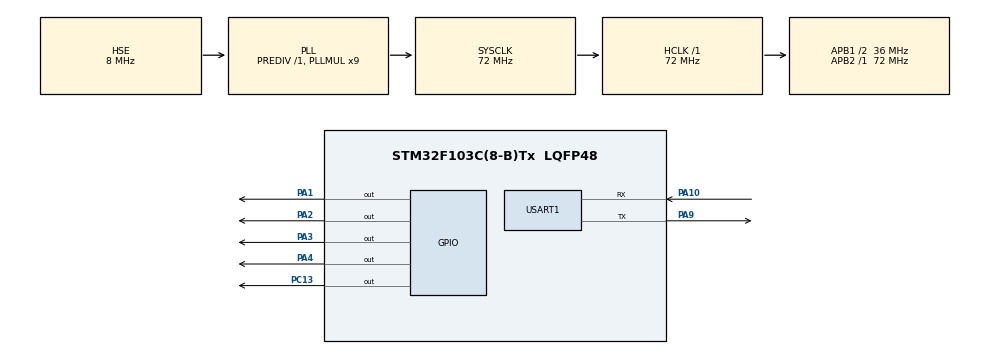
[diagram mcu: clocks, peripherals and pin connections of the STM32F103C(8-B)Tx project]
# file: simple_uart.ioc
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Mcu.Family=STM32F1
RCC.PLLSourceVirtual=RCC_PLLSOURCE_HSE
PD1-OSC_OUT.Mode=HSE-External-Oscillator
PA10.Mode=Asynchronous
PC13-TAMPER-RTC.Signal=GPIO_Output
PD0-OSC_IN.Signal=RCC_OSC_IN
RCC.APB1CLKDivider=RCC_HCLK_DIV2
RCC.SYSCLKSource=RCC_SYSCLKSOURCE_PLLCLK
ProjectManager.StackSize=0x400
PD1-OSC_OUT.Signal=RCC_OSC_OUT
PA13.Signal=SYS_JTMS-SWDIO
PA9.Mode=Asynchronous
ProjectManager.TargetToolchain=STM32CubeIDE
RCC.HCLKFreq_Value=72000000
RCC.APB2TimFreq_Value=72000000
PA9.Signal=USART1_TX
RCC.USBFreq_Value=72000000
PA1.Signal=GPIO_Output
RCC.AHBFreq_Value=72000000
PD0-OSC_IN.Mode=HSE-External-Oscillator
board=custom
RCC.PLLMUL=RCC_PLL_MUL9
RCC.APB2Freq_Value=72000000
PA14.Mode=Serial_Wire
PA13.Mode=Serial_Wire
Mcu.Name=STM32F103C(8-B)Tx
PA2.Signal=GPIO_Output
PA4.Signal=GPIO_Output
RCC.SYSCLKFreq_VALUE=72000000
Mcu.Package=LQFP48
USART1.VirtualMode=VM_ASYNC
PA10.Signal=USART1_RX
PA14.Signal=SYS_JTCK-SWCLK
ProjectManager.HeapSize=0x200
NVIC.PriorityGroup=NVIC_PRIORITYGROUP_4
RCC.APB1TimFreq_Value=72000000
NVIC.USART1_IRQn=true\:0\:0\:false\:false\:true\:true\:true
RCC.APB1Freq_Value=36000000
PA3.Signal=GPIO_Output

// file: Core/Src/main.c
/* USER CODE BEGIN Header */
/**
  ******************************************************************************
  * @file           : main.c
  * @brief          : Main program body
  ******************************************************************************
  * @attention
  *
  * <h2><center>&copy; Copyright (c) 2021 STMicroelectronics.
  * All rights reserved.</center></h2>
  *
  * This software component is licensed by ST under BSD 3-Clause license,
  * the "License"; You may not use this file except in compliance with the
  * License. You may obtain a copy of the License at:
  *                        opensource.org/licenses/BSD-3-Clause
  *
  ******************************************************************************
  */
/* USER CODE END Header */
#include "main.h"

/* USER CODE BEGIN Includes */
#include <string.h>
/* USER CODE END Includes */

UART_HandleTypeDef huart1;

void SystemClock_Config(void);

static void MX_GPIO_Init(void);

static void MX_USART1_UART_Init(void);

/* USER CODE BEGIN 0 */
#define BUFSIZE 3 // здесь указать размер буфера нужного размера
uint8_t buffer[BUFSIZE] = {0,};

// Функция обробатывает IDLE флаг.  Для того чтобы эта функци работала , нужно  добавить  изменения в
// Drivers/STM32F1xx_HAL_Driver/Inc/stm32f1xx_hal_uart.h
// Drivers/STM32F1xx_HAL_Driver/Src/stm32f1xx_hal_uart.c

void HAL_UART_IDLE_Callback(UART_HandleTypeDef *huart) {
    if (huart == &huart1) {
        // Функция вызываетс если буфер не доконца заполнен
        __HAL_UART_DISABLE_IT(&huart1, UART_IT_IDLE);
        uint8_t res = HAL_UART_Transmit_IT(&huart1, (uint8_t *) "ERR_LEN", 7);
        if (res == HAL_ERROR) {
            HAL_UART_Transmit(&huart1, (uint8_t *) "ERR_HAL", 7, 1000);
        } else if (res == HAL_BUSY) {
            HAL_UART_Transmit(&huart1, (uint8_t *) "ERR_BUSY", 8, 1000);
        } else if (res == HAL_OK) {

        } else {
            HAL_UART_Transmit(&huart1, (uint8_t *) "ERR_ALL", 7, 1000);
        }
        HAL_UART_AbortReceive(&huart1);
        __HAL_UART_CLEAR_IDLEFLAG(&huart1);
        __HAL_UART_ENABLE_IT(&huart1, UART_IT_IDLE);
        HAL_UART_Receive_IT(&huart1, (uint8_t *) buffer, BUFSIZE);
    }
}

/////////////////////////////////// полный буфер ///////////////////////////////////////
void HAL_UART_RxCpltCallback(UART_HandleTypeDef *huart) {
    if (huart == &huart1) {
        // Функция вызывается если буфер заполнен, здесь мы обрабатываем  и парсим то что пришло
        __HAL_UART_DISABLE_IT(&huart1, UART_IT_IDLE);
        if (strcmp((char *) buffer, "1-0") == 0) {
            HAL_GPIO_WritePin(GPIOA, GPIO_PIN_1, GPIO_PIN_RESET);
            HAL_UART_Transmit_IT(&huart1, (uint8_t *) "OK", 2);

        } else if (strcmp((char *) buffer, "1-1") == 0) {
            HAL_GPIO_WritePin(GPIOA, GPIO_PIN_1, GPIO_PIN_SET);
            HAL_UART_Transmit_IT(&huart1, (uint8_t *) "OK", 2);

        } else if (strcmp((char *) buffer, "2-0") == 0) {
            HAL_GPIO_WritePin(GPIOA, GPIO_PIN_2, GPIO_PIN_RESET);
            HAL_UART_Transmit_IT(&huart1, (uint8_t *) "OK", 2);

        } else if (strcmp((char *) buffer, "2-1") == 0) {
            HAL_GPIO_WritePin(GPIOA, GPIO_PIN_2, GPIO_PIN_SET);
            HAL_UART_Transmit_IT(&huart1, (uint8_t *) "OK", 2);

        } else if (strcmp((char *) buffer, "3-0") == 0) {
            HAL_GPIO_WritePin(GPIOA, GPIO_PIN_3, GPIO_PIN_RESET);
            HAL_UART_Transmit_IT(&huart1, (uint8_t *) "OK", 2);

        } else if (strcmp((char *) buffer, "3-1") == 0) {
            HAL_GPIO_WritePin(GPIOA, GPIO_PIN_3, GPIO_PIN_SET);
            HAL_UART_Transmit_IT(&huart1, (uint8_t *) "OK", 2);

        } else if (strcmp((char *) buffer, "4-0") == 0) {
            HAL_GPIO_WritePin(GPIOA, GPIO_PIN_4, GPIO_PIN_RESET);
            HAL_UART_Transmit_IT(&huart1, (uint8_t *) "OK", 2);

        } else if (strcmp((char *) buffer, "4-1") == 0) {
            HAL_GPIO_WritePin(GPIOA, GPIO_PIN_4, GPIO_PIN_SET);
            HAL_UART_Transmit_IT(&huart1, (uint8_t *) "OK", 2);

        } else {
            HAL_UART_Transmit_IT(&huart1, (uint8_t *) "NOT", 3);
        }

        HAL_UART_AbortReceive(&huart1);
        __HAL_UART_CLEAR_IDLEFLAG(&huart1);
        __HAL_UART_ENABLE_IT(&huart1, UART_IT_IDLE);
        HAL_UART_Receive_IT(&huart1, (uint8_t *) buffer, BUFSIZE);
    }
}

void HAL_UART_ErrorCallback(UART_HandleTypeDef *huart) {
    // Здесь мы обрабатываем ошибку  отправки UART
    if (huart == &huart1) {
        __HAL_UART_DISABLE_IT(&huart1, UART_IT_IDLE);
        uint32_t er = HAL_UART_GetError(&huart1);
        HAL_UART_Abort_IT(&huart1);

        switch (er) {
            case HAL_UART_ERROR_PE:
                HAL_UART_Transmit(&huart1, (uint8_t *) "ERR_PARITY", 10, 1000);
                __HAL_UART_CLEAR_PEFLAG(&huart1);
                huart->ErrorCode = HAL_UART_ERROR_NONE;
                break;

            case HAL_UART_ERROR_NE:
                HAL_UART_Transmit(&huart1, (uint8_t *) "ERR_NOISE", 9, 1000);
                __HAL_UART_CLEAR_NEFLAG(&huart1);
                huart->ErrorCode = HAL_UART_ERROR_NONE;
                break;

            case HAL_UART_ERROR_FE:
                HAL_UART_Transmit(&huart1, (uint8_t *) "ERR_FRAME", 9, 1000);
                __HAL_UART_CLEAR_FEFLAG(&huart1);
                huart->ErrorCode = HAL_UART_ERROR_NONE;
                break;

            case HAL_UART_ERROR_ORE:
                HAL_UART_Transmit(&huart1, (uint8_t *) "ERR_OVERRUN", 11, 1000);
                __HAL_UART_CLEAR_OREFLAG(huart);
                huart->ErrorCode = HAL_UART_ERROR_NONE;
                break;

            case HAL_UART_ERROR_DMA:
                HAL_UART_Transmit(&huart1, (uint8_t *) "ERR_DMA", 7, 1000);
                huart->ErrorCode = HAL_UART_ERROR_NONE;
                break;
            default:
                break;
        }
    }

}

/* USER CODE END 0 */

int main(void) {

    /* MCU Configuration--------------------------------------------------------*/

    /* Reset of all peripherals, Initializes the Flash interface and the Systick. */
    HAL_Init();

    /* Configure the system clock */
    SystemClock_Config();

    /* Initialize all configured peripherals */
    MX_GPIO_Init();
    MX_USART1_UART_Init();
    /* USER CODE BEGIN 2 */

    // Включаем флаг IDLE
    __HAL_UART_ENABLE_IT(&huart1, UART_IT_IDLE);
    // Включаем прерывание
    HAL_UART_Receive_IT(&huart1, (uint8_t *) buffer, BUFSIZE);

    /* USER CODE END 2 */

    /* Infinite loop */
    while (1) {

        /* USER CODE BEGIN 3 */
        // Здесь просто мигаем светодиодом
        HAL_GPIO_TogglePin(GPIOC, GPIO_PIN_13);
        HAL_Delay(1000);

    }
    /* USER CODE END 3 */
}

void SystemClock_Config(void) {
    RCC_OscInitTypeDef RCC_OscInitStruct = {0};
    RCC_ClkInitTypeDef RCC_ClkInitStruct = {0};

    /** Initializes the RCC Oscillators according to the specified parameters
    * in the RCC_OscInitTypeDef structure.
    */
    RCC_OscInitStruct.OscillatorType = RCC_OSCILLATORTYPE_HSE;
    RCC_OscInitStruct.HSEState = RCC_HSE_ON;
    RCC_OscInitStruct.HSEPredivValue = RCC_HSE_PREDIV_DIV1;
    RCC_OscInitStruct.HSIState = RCC_HSI_ON;
    RCC_OscInitStruct.PLL.PLLState = RCC_PLL_ON;
    RCC_OscInitStruct.PLL.PLLSource = RCC_PLLSOURCE_HSE;
    RCC_OscInitStruct.PLL.PLLMUL = RCC_PLL_MUL9;
    if (HAL_RCC_OscConfig(&RCC_OscInitStruct) != HAL_OK) {
        Error_Handler();
    }
    /** Initializes the CPU, AHB and APB buses clocks
    */
    RCC_ClkInitStruct.ClockType = RCC_CLOCKTYPE_HCLK | RCC_CLOCKTYPE_SYSCLK
                                  | RCC_CLOCKTYPE_PCLK1 | RCC_CLOCKTYPE_PCLK2;
    RCC_ClkInitStruct.SYSCLKSource = RCC_SYSCLKSOURCE_PLLCLK;
    RCC_ClkInitStruct.AHBCLKDivider = RCC_SYSCLK_DIV1;
    RCC_ClkInitStruct.APB1CLKDivider = RCC_HCLK_DIV2;
    RCC_ClkInitStruct.APB2CLKDivider = RCC_HCLK_DIV1;

    if (HAL_RCC_ClockConfig(&RCC_ClkInitStruct, FLASH_LATENCY_2) != HAL_OK) {
        Error_Handler();
    }
}

static void MX_USART1_UART_Init(void) {

    huart1.Instance = USART1;
    huart1.Init.BaudRate = 115200;
    huart1.Init.WordLength = UART_WORDLENGTH_8B;
    huart1.Init.StopBits = UART_STOPBITS_1;
    huart1.Init.Parity = UART_PARITY_NONE;
    huart1.Init.Mode = UART_MODE_TX_RX;
    huart1.Init.HwFlowCtl = UART_HWCONTROL_NONE;
    huart1.Init.OverSampling = UART_OVERSAMPLING_16;
    if (HAL_UART_Init(&huart1) != HAL_OK) {
        Error_Handler();
    }

}

static void MX_GPIO_Init(void) {
    GPIO_InitTypeDef GPIO_InitStruct = {0};

    /* GPIO Ports Clock Enable */
    __HAL_RCC_GPIOC_CLK_ENABLE();
    __HAL_RCC_GPIOD_CLK_ENABLE();
    __HAL_RCC_GPIOA_CLK_ENABLE();

    /*Configure GPIO pin Output Level */
    HAL_GPIO_WritePin(GPIOC, GPIO_PIN_13, GPIO_PIN_RESET);

    /*Configure GPIO pin Output Level */
    HAL_GPIO_WritePin(GPIOA, GPIO_PIN_1 | GPIO_PIN_2 | GPIO_PIN_3 | GPIO_PIN_4, GPIO_PIN_RESET);

    /*Configure GPIO pin : PC13 */
    GPIO_InitStruct.Pin = GPIO_PIN_13;
    GPIO_InitStruct.Mode = GPIO_MODE_OUTPUT_PP;
    GPIO_InitStruct.Pull = GPIO_NOPULL;
    GPIO_InitStruct.Speed = GPIO_SPEED_FREQ_LOW;
    HAL_GPIO_Init(GPIOC, &GPIO_InitStruct);

    /*Configure GPIO pins : PA1 PA2 PA3 PA4 */
    GPIO_InitStruct.Pin = GPIO_PIN_1 | GPIO_PIN_2 | GPIO_PIN_3 | GPIO_PIN_4;
    GPIO_InitStruct.Mode = GPIO_MODE_OUTPUT_PP;
    GPIO_InitStruct.Pull = GPIO_NOPULL;
    GPIO_InitStruct.Speed = GPIO_SPEED_FREQ_LOW;
    HAL_GPIO_Init(GPIOA, &GPIO_InitStruct);

}

void Error_Handler(void) {
}

/************************ (C) COPYRIGHT STMicroelectronics *****END OF FILE****/
